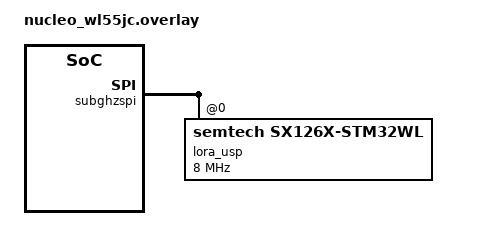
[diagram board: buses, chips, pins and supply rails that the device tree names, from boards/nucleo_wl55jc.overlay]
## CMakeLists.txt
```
# Copyright (c) 2024 Semtech Corporation
# SPDX-License-Identifier: Apache-2.0

cmake_minimum_required(VERSION 3.13.1)

find_package(Zephyr REQUIRED HINTS $ENV{ZEPHYR_BASE})
project(lctt_certif)

target_sources(app PRIVATE src/main.c)

# Apply the same compile definitions as LBM library
# Link against the INTERFACE library that contains all LBM compile definitions
target_link_libraries(app PRIVATE lbm_compile_definitions)
```

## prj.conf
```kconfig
# Copyright (c) 2024 Semtech Corporation
# SPDX-License-Identifier: Apache-2.0

#CONFIG_DEBUG=y
#CONFIG_NO_OPTIMIZATIONS=y
#CONFIG_DEBUG_OPTIMIZATIONS=y
#CONFIG_DEBUG_THREAD_INFO=y
#CONFIG_DCACHE=n

CONFIG_USE_SEGGER_RTT=n

# ------------------------------ General configuration -------------------------

# stack size (Zephyr boilerplate + 2048 required by Semtech)
CONFIG_MAIN_STACK_SIZE=8192

# some opereations will be triggered from the system workq, so match above stack size
CONFIG_SYSTEM_WORKQUEUE_STACK_SIZE=8192

# heap size
CONFIG_HEAP_MEM_POOL_SIZE=8192

CONFIG_LOG=y
CONFIG_LOG_BACKEND_UART=y
CONFIG_LOG_BUFFER_SIZE=4096

CONFIG_LOG_BACKEND_SHOW_COLOR=n

CONFIG_TEST_RANDOM_GENERATOR=y

CONFIG_SERIAL=y
CONFIG_UART_INTERRUPT_DRIVEN=y

CONFIG_PM_DEVICE=y
CONFIG_PM=y

CONFIG_WATCHDOG=n

CONFIG_FLASH=y

# ------------------------------ Transceiver driver ----------------------------

CONFIG_LORA_BASICS_MODEM_DRIVERS=y
CONFIG_LORA_BASICS_MODEM_DRIVERS_EVENT_TRIGGER_GLOBAL_THREAD=y

CONFIG_REBOOT=y

# ------------------------------ LoRa Basics Modem -----------------------------

#CONFIG_LORA_BASICS_MODEM=n

CONFIG_LORA_BASICS_MODEM_CLASS_B=y
CONFIG_LORA_BASICS_MODEM_CLASS_C=y
CONFIG_LORA_BASICS_MODEM_MULTICAST=y
CONFIG_LORA_BASICS_MODEM_CSMA=y
CONFIG_LORA_BASICS_MODEM_RELAY_TX=n
CONFIG_LORA_BASICS_MODEM_RELAY_RX=n

CONFIG_LORA_BASICS_MODEM_MULTICAST=y
CONFIG_LORA_BASICS_MODEM_FUOTA=y
CONFIG_LORA_BASICS_MODEM_FUOTA_V2=y
CONFIG_LORA_BASICS_MODEM_ALC_SYNC=y
CONFIG_LORA_BASICS_MODEM_ALC_SYNC_V2=y

CONFIG_LORA_BASICS_MODEM_FUOTA_FMP=y
CONFIG_LORA_BASICS_MODEM_FUOTA_MPA=y

CONFIG_LORA_BASICS_MODEM_STORE_AND_FORWARD=y
CONFIG_LORA_BASICS_MODEM_LFU=y

# ------------------------------ USP -----------------------------
CONFIG_USP=y
CONFIG_USP_LORA_BASICS_MODEM=y
CONFIG_USP_MAIN_THREAD=n

# CONFIG_CLOCK_CONTROL=y
# CONFIG_CLOCK_CONTROL_NRF=y

# The following parameter disable nRF54L15 FLASH RRAM buffer size to prevent from issue being investigating
CONFIG_NRF_RRAM_WRITE_BUFFER_SIZE=0
```

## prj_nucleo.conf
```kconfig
# Copyright (c) 2024 Semtech Corporation
# SPDX-License-Identifier: Apache-2.0

CONFIG_DEBUG=y
CONFIG_NO_OPTIMIZATIONS=y
CONFIG_DEBUG_OPTIMIZATIONS=y
CONFIG_DEBUG_THREAD_INFO=y
CONFIG_DCACHE=n

CONFIG_USE_SEGGER_RTT=n

CONFIG_CORTEX_M_SYSTICK=n
CONFIG_STM32_LPTIM_TIMER=y
CONFIG_CLOCK_CONTROL=y
CONFIG_PM=y

# ------------------------------ General configuration -------------------------

# stack size (Zephyr boilerplate + 2048 required by Semtech)
CONFIG_MAIN_STACK_SIZE=8192

# some opereations will be triggered from the system workq, so match above stack size
CONFIG_SYSTEM_WORKQUEUE_STACK_SIZE=8192

# heap size
CONFIG_HEAP_MEM_POOL_SIZE=8192

CONFIG_LOG=y
CONFIG_LOG_BACKEND_UART=y
CONFIG_LOG_BUFFER_SIZE=4096

CONFIG_LOG_BACKEND_SHOW_COLOR=n

CONFIG_TEST_RANDOM_GENERATOR=y

CONFIG_SERIAL=y
CONFIG_UART_INTERRUPT_DRIVEN=y

CONFIG_FLASH=y

# ------------------------------ Transceiver driver ----------------------------

CONFIG_LORA_BASICS_MODEM_DRIVERS=y
CONFIG_LORA_BASICS_MODEM_DRIVERS_EVENT_TRIGGER_GLOBAL_THREAD=y

CONFIG_REBOOT=y

# ------------------------------ LoRa Basics Modem -----------------------------

#CONFIG_LORA_BASICS_MODEM=n

CONFIG_LORA_BASICS_MODEM_CLASS_B=y
CONFIG_LORA_BASICS_MODEM_CLASS_C=y
CONFIG_LORA_BASICS_MODEM_MULTICAST=y
CONFIG_LORA_BASICS_MODEM_CSMA=y

# ------------------------------ USP -----------------------------
CONFIG_USP=y
CONFIG_USP_LORA_BASICS_MODEM=y
CONFIG_USP_MAIN_THREAD=n

# no picolibc (Windows issue)
CONFIG_PICOLIBC_USE_MODULE=n
CONFIG_NEWLIB_LIBC=y

# CONFIG_CLOCK_CONTROL=y
# CONFIG_CLOCK_CONTROL_NRF=y
```

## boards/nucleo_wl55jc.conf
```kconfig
# Copyright (c) 2026 Semtech Corporation
# SPDX-License-Identifier: Apache-2.0
# Created by Charles-Henri Hallard (charles@evolyenergy.com)

# Disable the native Zephyr LoRa driver — USP uses its own STM32WL HAL
CONFIG_LORA=n
CONFIG_SEMTECH_SX126X=n

# USP STM32WL internal radio driver
CONFIG_SEMTECH_SX126X_STM32WL=y

CONFIG_GPIO=y
CONFIG_SERIAL=y
CONFIG_CONSOLE=y
CONFIG_UART_CONSOLE=y
```

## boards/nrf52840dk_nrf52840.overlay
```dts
/*
 * Copyright (c) 2024 Semtech Corporation
 *
 * SPDX-License-Identifier: Apache-2.0
 */

#include "user_keys.overlay"

/ {
	aliases {
		smtc-watchdog = &wdt;
		lctt-certif-button = &button0;
	};
};

&spi1 {
	status = "disabled";
};

&spi2 {
	status = "disabled";
};

&qspi {
	status = "disabled";
};

&wdt {
	status = "okay";
};

&arduino_i2c {
        /delete-property/ zephyr,concat-buf-size;
};
```

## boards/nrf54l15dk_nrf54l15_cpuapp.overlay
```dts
// /*
//  * Copyright (c) 2024 Semtech Corporation
//  *
//  * SPDX-License-Identifier: Apache-2.0
//  */

#include "user_keys.overlay"

/ {
	aliases {
		smtc-watchdog = &wdt31;
		lctt-certif-button = &button0;
	};
};

// Set SPI freq @4MHz
&{/soc/peripheral@50000000/spi@4a000/lora@0} {
	spi-max-frequency = < 4000000 >;
};

&radio {
	status = "disabled";
};

&ieee802154 {
	status = "disabled";
};

&bt_hci_controller {
	status = "disabled";
};

&pwm20 {
	status = "disabled";
};

&adc {
	status = "disabled";
};

&temp {
	status = "disabled";
};

&mx25r64 {
	status = "disabled";
};


// &rng_hci {
	//     status = "disabled";
// };

&uart30 {
	status = "disabled";
};

// &clock {
	//     status = "disabled"; //For some reason, disabling it increases power consumption
// };

&power {
	status = "okay";
};

&gpregret1 {
	status = "okay";
};

&gpregret2 {
	status = "okay";
};

&rng {
	status = "disabled";
};

// &spi00 {
	//     status = "disabled";
// };


&uart20 {
	status = "okay";
	// disable-rx; //Disabling RX allows a gain of ~200µA, totally disabling uart allows another gain of ~200µA
	// /delete-property/ hw-flow-control;
};

&pinctrl {
	uart20_default: uart20_default {
		group1 {
			psels = <NRF_PSEL(UART_TX, 1, 4)>
			// ,<NRF_PSEL(UART_RTS, 0, 2)>
			;
		};
		group2 {
			psels = <NRF_PSEL(UART_RX, 0, 1)> //DIO9 is mapped on RX
			// ,<NRF_PSEL(UART_CTS, 0, 3)>
			;
			bias-pull-up;
		};
	};

	uart20_sleep: uart20_sleep {
		group1 {
			psels = <NRF_PSEL(UART_TX, 1, 4)>,
					<NRF_PSEL(UART_RX, 0, 1)>
					// ,<NRF_PSEL(UART_RTS, 0, 2)>
					// ,<NRF_PSEL(UART_CTS, 0, 3)>
					;
			low-power-enable;
		};
	};
};

&wdt31 {
	status = "okay";
};
```

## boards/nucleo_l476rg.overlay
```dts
/*
 * Copyright (c) 2024 Semtech Corporation
 *
 * SPDX-License-Identifier: Apache-2.0
 */

#include "user_keys.overlay"

/ {
	aliases {
		smtc-watchdog = &iwdg;
		lctt-certif-button = &user_button;
	};
};

&lptim1 {
	clocks = <&rcc STM32_CLOCK_BUS_APB1 0x80000000>,
		 <&rcc STM32_SRC_LSE LPTIM1_SEL(3)>;
	status = "okay";
};

&spi3 {
	status = "disabled";
};

&iwdg {
	status = "disabled";
};

&arduino_spi {
	/delete-property/ overrun-character;
};

&arduino_i2c {
        /delete-property/ zephyr,concat-buf-size;
};
```

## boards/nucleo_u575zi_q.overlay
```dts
/*
 * Copyright (c) 2024 Semtech Corporation
 *
 * SPDX-License-Identifier: Apache-2.0
 */

#include "user_keys.overlay"

/ {
	aliases {
		smtc-watchdog = &iwdg;
		lctt-certif-button = &user_button;
	};
};

&i2c1 {
	status = "disabled";
};

&i2c2 {
	status = "disabled";
};

&lptim1 {
	status = "disabled";
};

&timers3 {
	status = "disabled";
};

&timers4 {
	status = "disabled";
};

&dac1 {
	status = "disabled";
};

&adc1 {
	status = "disabled";
};

&adc4 {
	status = "disabled";
};

&fdcan1 {
	status = "disabled";
};

&usbotg_fs {
	status = "disabled";
};

&usart2 {
	status = "disabled";
};

&iwdg {
	status = "disabled";
};

&wwdg {
	status = "disabled";
};

&arduino_i2c {
        /delete-property/ zephyr,concat-buf-size;
};

&arduino_spi {
	/delete-property/ overrun-character;
};
```

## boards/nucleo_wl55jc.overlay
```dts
/*
 * Copyright (c) 2026 Semtech Corporation
 * SPDX-License-Identifier: Apache-2.0
 * Created by Charles-Henri Hallard (charles@evolyenergy.com)
 *
 * Board overlay for ST NUCLEO-WL55JC (STM32WL55JC, HP PA).
 *
 * The base board DTS already contains all radio properties matching
 * the USP binding: RF switch (PC4/PC5 ACTIVE_LOW), TCXO (DIO3 1.7V 5ms),
 * PA config (rfo-hp +22dBm). No regulator-ldo: DC-DC converter used.
 */

&subghzspi {
    status = "okay";

    lora_usp: radio@0 {
        compatible = "semtech,sx126x-stm32wl";
        status = "okay";
        spi-max-frequency = <8000000>;
    };
};

/ {
    aliases {
        lora-transceiver   = &lora_usp;
        lctt-certif-button = &user_button_1; /* SW1 = PA0 */
    };

    chosen {
        zephyr,lorawan-transceiver = &lora_usp;
    };
};

/* LoRaWAN credentials (placeholder — replace with real values before flashing) */
#include "user_keys.overlay"
```

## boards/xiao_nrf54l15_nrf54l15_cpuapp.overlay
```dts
// /*
//  * Copyright (c) 2024 Semtech Corporation
//  *
//  * SPDX-License-Identifier: Apache-2.0
//  */

#include "user_keys.overlay"

/ {
	aliases {
		smtc-watchdog = &wdt31;
		lctt-certif-button = &usr_btn;
	};
};

&xiao_serial {
	status = "disabled";
};

&i2c22 {
	status = "disabled";
};

&i2c30 {
	status = "disabled";
};

&adc {
	status = "disabled";
};

&wdt31 {
	status = "okay";
};

// Override xiao_nrf54l15 default configuration for USP applications
// Disable boot-on for RF switch regulators to save power

&rfsw_ctl {
	/delete-property/ regulator-boot-on;
};

&rfsw_pwr {
	/delete-property/ regulator-boot-on;
};

&vbat_pwr {
	/delete-property/ regulator-boot-on;
};
```

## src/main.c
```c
/**
 * @file      main.c
 *
 * @brief     Application main
 *
 * The Clear BSD License
 * Copyright Semtech Corporation 2025. All rights reserved.
 *
 * Redistribution and use in source and binary forms, with or without
 * modification, are permitted (subject to the limitations in the disclaimer
 * below) provided that the following conditions are met:
 *     * Redistributions of source code must retain the above copyright
 *       notice, this list of conditions and the following disclaimer.
 *     * Redistributions in binary form must reproduce the above copyright
 *       notice, this list of conditions and the following disclaimer in the
 *       documentation and/or other materials provided with the distribution.
 *     * Neither the name of the Semtech corporation nor the
 *       names of its contributors may be used to endorse or promote products
 *       derived from this software without specific prior written permission.
 *
 * NO EXPRESS OR IMPLIED LICENSES TO ANY PARTY'S PATENT RIGHTS ARE GRANTED BY
 * THIS LICENSE. THIS SOFTWARE IS PROVIDED BY THE COPYRIGHT HOLDERS AND
 * CONTRIBUTORS "AS IS" AND ANY EXPRESS OR IMPLIED WARRANTIES, INCLUDING, BUT
 * NOT LIMITED TO, THE IMPLIED WARRANTIES OF MERCHANTABILITY AND FITNESS FOR A
 * PARTICULAR PURPOSE ARE DISCLAIMED. IN NO EVENT SHALL SEMTECH CORPORATION BE
 * LIABLE FOR ANY DIRECT, INDIRECT, INCIDENTAL, SPECIAL, EXEMPLARY, OR
 * CONSEQUENTIAL DAMAGES (INCLUDING, BUT NOT LIMITED TO, PROCUREMENT OF
 * SUBSTITUTE GOODS OR SERVICES; LOSS OF USE, DATA, OR PROFITS; OR BUSINESS
 * INTERRUPTION) HOWEVER CAUSED AND ON ANY THEORY OF LIABILITY, WHETHER IN
 * CONTRACT, STRICT LIABILITY, OR TORT (INCLUDING NEGLIGENCE OR OTHERWISE)
 * ARISING IN ANY WAY OUT OF THE USE OF THIS SOFTWARE, EVEN IF ADVISED OF THE
 * POSSIBILITY OF SUCH DAMAGE.
 */

#include <zephyr/kernel.h>
#include <zephyr/logging/log.h>
#include <zephyr/drivers/gpio.h>

#include <zephyr/lorawan_lbm/lorawan_hal_init.h>
#include <smtc_modem_helper.h>
#include "smtc_modem_api.h"
#include "smtc_modem_utilities.h"
#include "smtc_modem_hal.h"

#if defined( CONFIG_LORA_BASICS_MODEM_RELAY_TX )
#include <smtc_modem_relay_api.h>
#endif

#include <smtc_rac_api.h>

LOG_MODULE_REGISTER( lctt_certif, LOG_LEVEL_INF );

/* lr11xx radio context and its use in the ralf layer */
static const struct device* transceiver = DEVICE_DT_GET( DT_ALIAS( lora_transceiver ) );

/**
 * @brief Watchdog counter reload value during sleep (The period must be lower than MCU watchdog
 * period (here 32s))
 */
#define WATCHDOG_RELOAD_PERIOD_MS 20000

/**
 * @brief Periodical uplink alarm delay in seconds
 */
#define PERIODICAL_UPLINK_DELAY_S 10

#define USER_BUTTON_NODE DT_ALIAS( lctt_certif_button )
#if !DT_NODE_HAS_STATUS( USER_BUTTON_NODE, okay )
#error "Unsupported board: lctt-certif-button devicetree alias is not defined"
#endif
static const struct gpio_dt_spec button = GPIO_DT_SPEC_GET_OR( USER_BUTTON_NODE, gpios, { 0 } );
static struct gpio_callback      button_cb_data;

/*
 * -----------------------------------------------------------------------------
 * --- PRIVATE TYPES -----------------------------------------------------------
 */

/*
 * -----------------------------------------------------------------------------
 * --- PRIVATE VARIABLES -------------------------------------------------------
 */

static volatile bool user_button_is_press;
static uint32_t      uplink_counter;

static bool certif_running;

/*
 * -----------------------------------------------------------------------------
 * --- PRIVATE FUNCTIONS DECLARATION -------------------------------------------
 */

/**
 * @brief User callback for button EXTI
 *
 * @param context Define by the user at the init
 */
static void user_button_callback( const void* context );

/**
 * @brief Handle action taken if button is pushed
 *
 */
static void main_handle_push_button( void );

/**
 * @brief Send the 32bits uplink counter on chosen port
 */
static void send_uplink_counter_on_port( uint8_t port );

/*
 * -----------------------------------------------------------------------------
 * --- PUBLIC FUNCTIONS DEFINITION ---------------------------------------------
 */

/* for zephyr compat*/
void button_pressed( const struct device* dev, struct gpio_callback* cb, uint32_t pins )
{
    user_button_callback( dev );
}

int main( void )
{
    uint32_t sleep_time_ms = 0;
    int      ret;

    lorawan_smtc_modem_hal_init( transceiver );

    /* Init the modem and use modem_event_callback as event callback, please note that the
     * callback will be called immediately after the first call to smtc_modem_run_engine because
     * of the reset detection
     */
    smtc_rac_init( );
    smtc_modem_init( &modem_event_callback );

    /* Configure Nucleo blue button as EXTI */
    if( !gpio_is_ready_dt( &button ) )
    {
        printk( "Error: button device %s is not ready\n", button.port->name );
        return 1;
    }
    ret = gpio_pin_configure_dt( &button, GPIO_INPUT );
    if( ret != 0 )
    {
        printk( "Error %d: failed to configure %s pin %d\n", ret, button.port->name, button.pin );
        return 1;
    }
    ret = gpio_pin_interrupt_configure_dt( &button, GPIO_INT_EDGE_TO_INACTIVE );
    if( ret != 0 )
    {
        printk( "Error %d: failed to configure interrupt on %s pin %d\n", ret, button.port->name, button.pin );
        return 1;
    }
    gpio_init_callback( &button_cb_data, button_pressed, BIT( button.pin ) );
    gpio_add_callback( button.port, &button_cb_data );

    LOG_INF( "Certification example is starting" );
    LOG_INF( "Push button to enable/disable certification" );

    while( 1 )
    {
        /* Check button */
        if( user_button_is_press == true )
        {
            user_button_is_press = false;

            main_handle_push_button( );
        }

        /* Modem process launch */
        sleep_time_ms = smtc_modem_run_engine( );

        /* Check sleep conditions (button was not pressed) */
        if( ( user_button_is_press == false ) && ( smtc_modem_is_irq_flag_pending( ) == false ) )
        {
            uint32_t real_sleep_time_ms = MIN( sleep_time_ms, WATCHDOG_RELOAD_PERIOD_MS );

            smtc_modem_hal_interruptible_msleep( real_sleep_time_ms );
        }
    }
    return 0;
}

/*
 * -----------------------------------------------------------------------------
 * --- PRIVATE FUNCTIONS DEFINITION --------------------------------------------
 */
void modem_event_callback( void )
{
    LOG_INF( "Modem event callback" );

    smtc_modem_event_t current_event = { 0 };
    uint8_t            event_pending_count;
    uint8_t            stack_id = STACK_ID;

    /* Continue to read modem event until all event has been processed */
    do
    {
        /* Read modem event */
        ASSERT_SMTC_MODEM_RC( smtc_modem_get_event( &current_event, &event_pending_count ) );

        switch( current_event.event_type )
        {
        case SMTC_MODEM_EVENT_RESET:
        {
            LOG_INF( "Event received: RESET" );

#if !defined( CONFIG_LORA_BASICS_MODEM_CRYPTOGRAPHY_LR11XX_WITH_CREDENTIALS )
            /* Set user credentials */
            ASSERT_SMTC_MODEM_RC( smtc_modem_set_deveui( stack_id, smtc_modem_helper_get_eui( ) ) );
            ASSERT_SMTC_MODEM_RC( smtc_modem_set_joineui( stack_id, smtc_modem_helper_get_join_eui( ) ) );
            ASSERT_SMTC_MODEM_RC( smtc_modem_set_appkey( stack_id, smtc_modem_helper_get_gen_app_key( ) ) );
            ASSERT_SMTC_MODEM_RC( smtc_modem_set_nwkkey( stack_id, smtc_modem_helper_get_app_key( ) ) );
#else
            /* Get internal credentials */
            ASSERT_SMTC_MODEM_RC( smtc_modem_get_chip_eui( stack_id, smtc_modem_helper_get_eui( ) ) );
            SMTC_HAL_TRACE_ARRAY( "CHIP_EUI", smtc_modem_helper_get_eui( ), SMTC_MODEM_EUI_LENGTH );
            ASSERT_SMTC_MODEM_RC( smtc_modem_get_pin( stack_id, smtc_modem_helper_get_pin( ) ) );
            SMTC_HAL_TRACE_ARRAY( "CHIP_PIN", smtc_modem_helper_get_pin( ), SMTC_MODEM_PIN_LENGTH );
#endif
            /* Set user region */
            ASSERT_SMTC_MODEM_RC( smtc_modem_set_region( stack_id, MODEM_REGION ) );
#if defined( CONFIG_LORA_BASICS_MODEM_RELAY_TX )
            smtc_modem_helper_get_relay_config( )->second_ch_enable = false;
            smtc_modem_helper_get_relay_config( )->activation       = SMTC_MODEM_RELAY_TX_ACTIVATION_MODE_ED_CONTROLLED;
            smtc_modem_helper_get_relay_config( )->number_of_miss_wor_ack_to_switch_in_nosync_mode = 1;
            smtc_modem_helper_get_relay_config( )->smart_level                                     = 5;
            smtc_modem_helper_get_relay_config( )->backoff                                         = 4;
            ASSERT_SMTC_MODEM_RC( smtc_modem_relay_tx_enable( stack_id, smtc_modem_helper_get_relay_config( ) ) );
#endif
            ASSERT_SMTC_MODEM_RC( smtc_modem_get_certification_mode( stack_id, &certif_running ) );
            if( certif_running == false )
            {
                ASSERT_SMTC_MODEM_RC( smtc_modem_join_network( stack_id ) );
            }
            break;
        }
        case SMTC_MODEM_EVENT_ALARM:
            LOG_INF( "Event received: ALARM" );
            if( certif_running == true )
            {
                ASSERT_SMTC_MODEM_RC( smtc_modem_alarm_clear_timer( ) );
            }
            else
            {
                /* Send periodical uplink on port 101 */
                send_uplink_counter_on_port( 101 );
                ASSERT_SMTC_MODEM_RC( smtc_modem_alarm_start_timer( PERIODICAL_UPLINK_DELAY_S ) );
            }
            break;

        case SMTC_MODEM_EVENT_JOINED:
            LOG_INF( "Event received: JOINED" );
            LOG_INF( "Modem is now joined " );

            if( certif_running == false )
            {
                /* start periodical uplink alarm */
                ASSERT_SMTC_MODEM_RC( smtc_modem_alarm_start_timer( PERIODICAL_UPLINK_DELAY_S ) );
            }
            break;

        case SMTC_MODEM_EVENT_TXDONE:
            LOG_INF( "Event received: TXDONE" );
            LOG_INF( "Transmission done " );
            break;

        case SMTC_MODEM_EVENT_DOWNDATA:
            LOG_INF( "Event received: DOWNDATA" );
            // Get downlink data
            smtc_modem_get_downlink_data( smtc_modem_helper_get_rx_payload( ), smtc_modem_helper_get_rx_payload_size( ),
                                          smtc_modem_helper_get_rx_metadata( ), smtc_modem_helper_get_rx_remaining( ) );
            LOG_INF( "Data received on port %u", smtc_modem_helper_get_rx_metadata( )->fport );
            LOG_HEXDUMP_INF( smtc_modem_helper_get_rx_payload( ), *smtc_modem_helper_get_rx_payload_size( ),
                             "Received payload" );
            break;

        case SMTC_MODEM_EVENT_JOINFAIL:
            LOG_INF( "Event received: JOINFAIL" );
            break;

        case SMTC_MODEM_EVENT_ALCSYNC_TIME:
            LOG_INF( "Event received: ALCSync service TIME" );
            break;

        case SMTC_MODEM_EVENT_LINK_CHECK:
            LOG_INF( "Event received: LINK_CHECK" );
            break;

        case SMTC_MODEM_EVENT_CLASS_B_PING_SLOT_INFO:
            LOG_INF( "Event received: CLASS_B_PING_SLOT_INFO" );
            break;

        case SMTC_MODEM_EVENT_CLASS_B_STATUS:
            LOG_INF( "Event received: CLASS_B_STATUS" );
            break;

        case SMTC_MODEM_EVENT_LORAWAN_MAC_TIME:
            LOG_WRN( "Event received: LORAWAN MAC TIME" );
            break;

        case SMTC_MODEM_EVENT_LORAWAN_FUOTA_DONE:
        {
            bool status = current_event.event_data.fuota_status.successful;

            if( status == true )
            {
                LOG_INF( "Event received: FUOTA SUCCESSFUL" );
            }
            else
            {
                LOG_WRN( "Event received: FUOTA FAIL" );
            }
            break;
        }

        case SMTC_MODEM_EVENT_NO_MORE_MULTICAST_SESSION_CLASS_C:
            LOG_INF( "Event received: MULTICAST CLASS_C STOP" );
            break;

        case SMTC_MODEM_EVENT_NO_MORE_MULTICAST_SESSION_CLASS_B:
            LOG_INF( "Event received: MULTICAST CLASS_B STOP" );
            break;

        case SMTC_MODEM_EVENT_NEW_MULTICAST_SESSION_CLASS_C:
            LOG_INF( "Event received: New MULTICAST CLASS_C " );
            break;

        case SMTC_MODEM_EVENT_NEW_MULTICAST_SESSION_CLASS_B:
            LOG_INF( "Event received: New MULTICAST CLASS_B" );
            break;

        case SMTC_MODEM_EVENT_FIRMWARE_MANAGEMENT:
            LOG_INF( "Event received: FIRMWARE_MANAGEMENT" );
            if( current_event.event_data.fmp.status == SMTC_MODEM_EVENT_FMP_REBOOT_IMMEDIATELY )
            {
                smtc_modem_hal_reset_mcu( );
            }
            break;

        case SMTC_MODEM_EVENT_STREAM_DONE:
            LOG_INF( "Event received: STREAM_DONE" );
            break;

        case SMTC_MODEM_EVENT_UPLOAD_DONE:
            LOG_INF( "Event received: UPLOAD_DONE" );
            break;

        case SMTC_MODEM_EVENT_DM_SET_CONF:
            LOG_INF( "Event received: DM_SET_CONF" );
            break;

        case SMTC_MODEM_EVENT_MUTE:
            LOG_INF( "Event received: MUTE" );
            break;

        case SMTC_MODEM_EVENT_RELAY_TX_DYNAMIC:
            /* Relay TX dynamic mode has enable or disable the WOR protocol */
            LOG_INF( "Event received: RELAY_TX_DYNAMIC" );
            break;

        case SMTC_MODEM_EVENT_RELAY_TX_MODE:
            /* Relay TX activation has been updated */
            LOG_INF( "Event received: RELAY_TX_MODE" );
            break;

        case SMTC_MODEM_EVENT_RELAY_TX_SYNC:
            /* Relay TX synchronisation has changed */
            LOG_INF( "Event received: RELAY_TX_SYNC" );
            break;

        case SMTC_MODEM_EVENT_RELAY_RX_RUNNING:
            LOG_INF( "Event received: RELAY_RX_RUNNING\n" );
#if defined( ADD_CSMA ) && defined( ADD_RELAY_RX )
            bool csma_state = false;
            ASSERT_SMTC_MODEM_RC( smtc_modem_csma_get_state( STACK_ID, &csma_state ) );
            if( ( current_event.event_data.relay_rx.status == true ) && ( csma_state == true ) )
            {
                // Disable CSMA when Relay Rx Is enabled by network
                ASSERT_SMTC_MODEM_RC( smtc_modem_csma_set_state( STACK_ID, false ) );
            }
#if defined( ENABLE_CSMA_BY_DEFAULT ) && defined( ADD_RELAY_RX )
            if( current_event.event_data.relay_rx.status == false )
            {
                ASSERT_SMTC_MODEM_RC( smtc_modem_csma_set_state( STACK_ID, true ) );
            }
#endif  // ENABLE_CSMA_BY_DEFAULT
#endif  // ADD_CSMA
            break;

        case SMTC_MODEM_EVENT_REGIONAL_DUTY_CYCLE:
            LOG_INF( "Event received: REGIONAL_DUTY_CYCLE\n" );
            break;

        case SMTC_MODEM_EVENT_NO_DOWNLINK_THRESHOLD:
        {
            LOG_INF( "Event received: NO_DOWNLINK_THRESHOLD\n" );
            break;
        }

        case SMTC_MODEM_EVENT_RESET_REQUEST:
        {
            LOG_INF( "Event received: RESET_REQUEST\n" );
            smtc_modem_hal_reset_mcu( );
            break;
        }

        default:
            LOG_ERR( "Unknown event %u", current_event.event_type );
            break;
        }
    } while( event_pending_count > 0 );
}

static void user_button_callback( const void* context )
{
    LOG_INF( "Button pushed" );

    static uint32_t last_press_timestamp_ms;

    /* Debounce the button press, avoid multiple triggers */
    if( ( int32_t ) ( smtc_modem_hal_get_time_in_ms( ) - last_press_timestamp_ms ) > 500 )
    {
        last_press_timestamp_ms = smtc_modem_hal_get_time_in_ms( );
        smtc_modem_hal_wake_up( );
        user_button_is_press = true;
    }
}
static void main_handle_push_button( void )
{
    if( certif_running == true )
    {
        smtc_modem_set_certification_mode( STACK_ID, false );
        ASSERT_SMTC_MODEM_RC( smtc_modem_leave_network( STACK_ID ) );
        ASSERT_SMTC_MODEM_RC( smtc_modem_join_network( STACK_ID ) );
        certif_running = false;
    }
    else
    {
        smtc_modem_set_certification_mode( STACK_ID, true );
        certif_running = true;
    }
}

static void send_uplink_counter_on_port( uint8_t port )
{
    /* Send uplink counter on port 102 */
    uint8_t buff[4] = { 0 };

    buff[0] = ( uplink_counter >> 24 ) & 0xFF;
    buff[1] = ( uplink_counter >> 16 ) & 0xFF;
    buff[2] = ( uplink_counter >> 8 ) & 0xFF;
    buff[3] = ( uplink_counter & 0xFF );
    ASSERT_SMTC_MODEM_RC( smtc_modem_request_uplink( STACK_ID, port, false, buff, 4 ) );
    /* Increment uplink counter */
    uplink_counter++;
}
```
